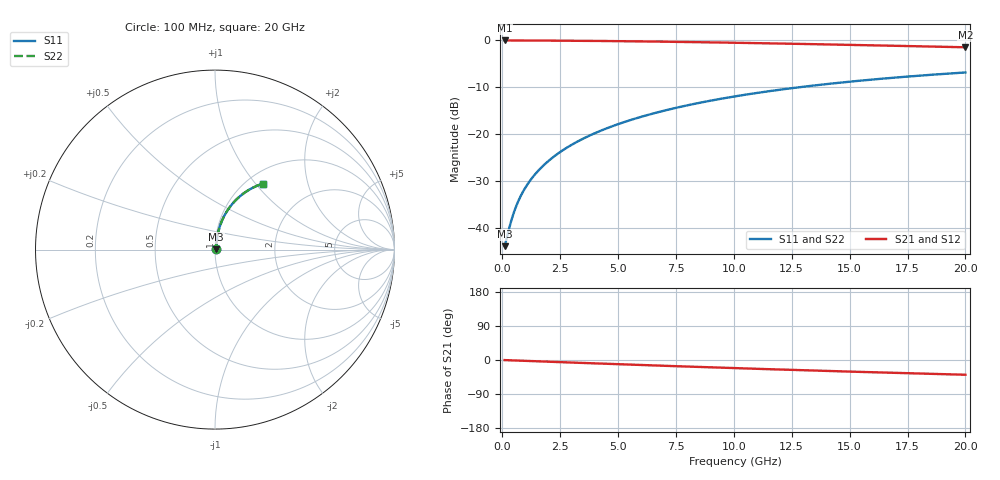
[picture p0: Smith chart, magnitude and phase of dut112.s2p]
! Touchstone file exported from HFSS 2024.1.0
!  File:  C:/UserFiles/LocalFiles/RDL_TSV_Batchsim/temp_RDL_top_112_1778683665.aedt
!  Generated:  10:49:55 PM May 13, 2026
!  Design:  RDL_top
!  Project:  temp_RDL_top_112_1778683665
!  Setup:  Setup1
!  Solution:  Sweep
! Variables:
!  dtsv = 10.80580581um
!  hbump = 3um
!  htsv = 95.2um
!  ldown = 100um
!  lrdl = 450.16um
!  p = 40
!  p1 = 55.79um
!  rhole = 1um
!  t = 450um
!  tdown = 3.915915916um
!  trdl = 2.03um
!  wdown = 15.38538539um
!  wrdl = 14.1um
# GHz S MA R 50.000000
! Terminal data exported
! Port[1] = Box2_T1
! Port[2] = Box2_T2
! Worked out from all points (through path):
!   200 points, 100 MHz to 20 GHz, reference 50 ohm
!   highest |S21| = -0.05 dB at 100 MHz (marker M1); lowest = -1.5 dB at 20 GHz (marker M2)
!   group delay of S21, straight-line fit = 5.41 ps
!   lowest |S11| = -43.9 dB at 100 MHz (marker M3), VSWR 1.01, Z = 50.6 + j0.269 ohm
!   |S11| at or under -10 dB: start of sweep to 12.87 GHz
!   |S22| runs from -43.9 to -6.9 dB; largest |S21 - S12| = 2.4e-15
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0.1  0.006356 24.7  0.9942 -0.2  0.9942 -0.2  0.006356 24.7
! Gamma 0 0 0 0
! Port Impedance 50 0 50 0
0.4  0.01218 60.1  0.9939 -0.9  0.9939 -0.9  0.01218 60.1
0.5  0.01455 64.7  0.9938 -1.2  0.9938 -1.2  0.01455 64.7
0.6  0.01698 67.9  0.9936 -1.4  0.9936 -1.4  0.01698 67.9
0.7  0.01944 70.2  0.9934 -1.6  0.9934 -1.6  0.01944 70.2
0.9  0.02437 73.3  0.9931 -2.1  0.9931 -2.1  0.02437 73.3
1.2  0.0318 76.0  0.9924 -2.7  0.9924 -2.7  0.0318 76.0
1.4  0.03677 77.2  0.992 -3.2  0.992 -3.2  0.03677 77.2
1.7  0.04422 78.3  0.9913 -3.9  0.9913 -3.9  0.04422 78.3
2.2  0.0567 79.4  0.9899 -5.0  0.9899 -5.0  0.0567 79.4
2.8  0.07174 79.8  0.9879 -6.3  0.9879 -6.3  0.07174 79.8
3.5  0.08937 79.7  0.9851 -7.8  0.9851 -7.8  0.08937 79.7
4.2  0.107 79.2  0.9819 -9.4  0.9819 -9.4  0.107 79.2
5  0.1273 78.4  0.9776 -11.1  0.9776 -11.1  0.1272 78.4
5.9  0.1499 77.3  0.9721 -13.0  0.9721 -13.0  0.1499 77.3
6.8  0.1725 76.0  0.966 -14.9  0.966 -14.9  0.1725 76.0
8.4  0.2121 73.5  0.9538 -18.2  0.9538 -18.2  0.2121 73.5
10.1  0.253 70.7  0.9394 -21.5  0.9394 -21.5  0.253 70.7
11.7  0.2901 67.9  0.9248 -24.6  0.9248 -24.6  0.29 67.9
13.4  0.3276 65.0  0.9083 -27.7  0.9083 -27.7  0.3276 65.0
16.7  0.3945 59.4  0.8749 -33.5  0.8749 -33.5  0.3944 59.4
20  0.453 54.1  0.8408 -38.9  0.8408 -38.9  0.453 54.1
